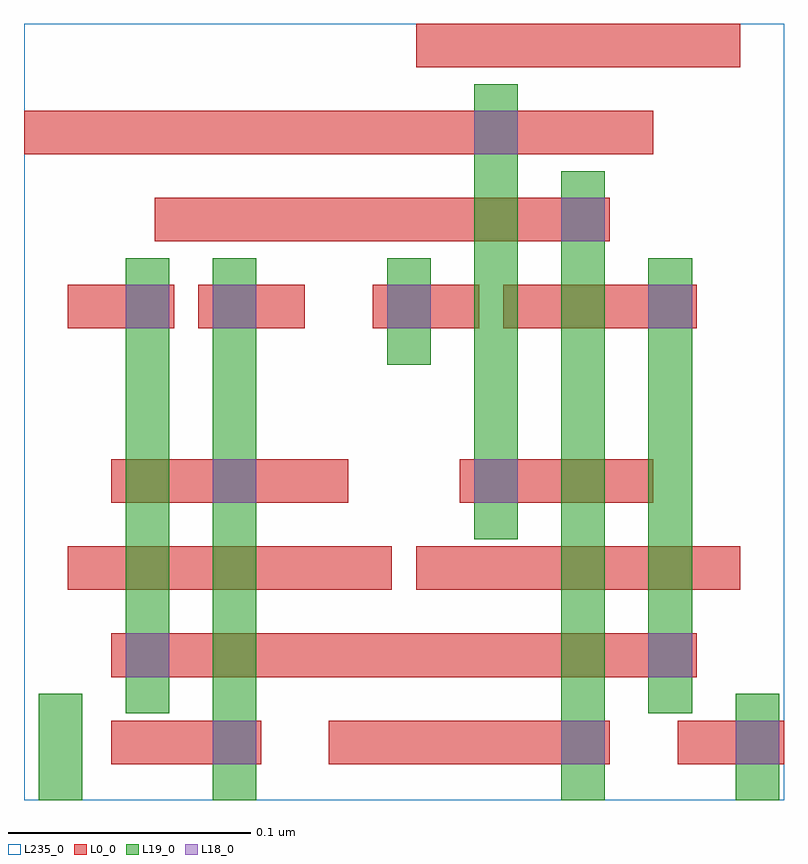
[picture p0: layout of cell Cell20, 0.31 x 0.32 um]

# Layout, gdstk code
import gdstk
lib = gdstk.Library(unit=1e-6, precision=2.5e-10)
def R(c, l, rs):  # rectangles x0, y0, x1, y1
    for r in rs: c.add(gdstk.rectangle(r[:2], r[2:], *l))
L0_0 = (0, 0)
L18_0 = (18, 0)
L19_0 = (19, 0)
L235_0 = (235, 0)

cell20 = lib.new_cell('Cell20')
R(cell20, L0_0, [(0.04,-0.001,0.102,0.017), (0.13,-0.001,0.246,0.017), (0.274,-0.001,0.318,0.017), (0.04,0.035,0.282,0.053), (0.022,0.071,0.156,0.089), (0.166,0.071,0.3,0.089), (0.04,0.107,0.138,0.125), (0.184,0.107,0.264,0.125), (0.022,0.179,0.066,0.197), (0.076,0.179,0.12,0.197), (0.148,0.179,0.192,0.197), (0.202,0.179,0.282,0.197), (0.058,0.215,0.246,0.233), (0.004,0.251,0.264,0.269), (0.166,0.287,0.3,0.305)])
R(cell20, L18_0, [(0.082,-0.001,0.1,0.017), (0.226,-0.001,0.244,0.017), (0.298,-0.001,0.316,0.017), (0.046,0.035,0.064,0.053), (0.262,0.035,0.28,0.053), (0.082,0.107,0.1,0.125), (0.19,0.107,0.208,0.125), (0.046,0.179,0.064,0.197), (0.082,0.179,0.1,0.197), (0.154,0.179,0.172,0.197), (0.262,0.179,0.28,0.197), (0.226,0.215,0.244,0.233), (0.19,0.251,0.208,0.269)])
R(cell20, L19_0, [(0.01,-0.016,0.028,0.028), (0.082,-0.016,0.1,0.208), (0.226,-0.016,0.244,0.244), (0.298,-0.016,0.316,0.028), (0.046,0.02,0.064,0.208), (0.262,0.02,0.28,0.208), (0.19,0.092,0.208,0.28), (0.154,0.164,0.172,0.208)])
R(cell20, L235_0, [(0.004,-0.016,0.318,0.305)])

lib.write_gds('Cell20.gds')
